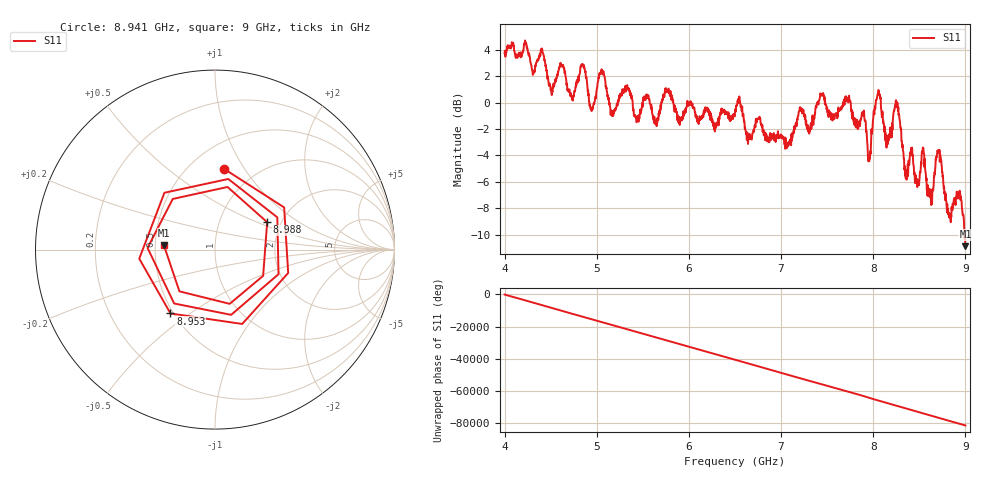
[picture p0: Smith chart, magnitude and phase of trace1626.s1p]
! Created with skrf 1.8.0 (http://scikit-rf.org).
# Hz S RI R 50.0
!freq ReS11 ImS11
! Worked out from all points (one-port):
!   1601 points, 4 GHz to 9 GHz, reference 50 ohm
!   lowest |S11| = -10.9 dB at 9 GHz (marker M1), VSWR 1.80, Z = 27.8 + j1.48 ohm
!   |S11| at or under -10 dB: 8.989563 GHz to end of sweep
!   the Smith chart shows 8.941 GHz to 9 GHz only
!   S11 on the Smith chart (normalised r, x): 8.941 GHz: 0.72, +0.82; 8.953 GHz: 0.48, -0.42; 8.988 GHz: 1.69, +0.58; 9 GHz: 0.56, +0.03
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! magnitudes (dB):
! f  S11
! 4 GHz  3.8
! 4.406 GHz  4.1
! 4.503 GHz  1.1
! 4.625 GHz  2.9
! 4.731 GHz  0.3
! 4.853 GHz  2.8
! 4.941 GHz  -0.4
! 5.05 GHz  2.3
! 5.162 GHz  -0.8
! 5.25 GHz  0.6
! 5.875 GHz  -1.1
! 6.5 GHz  -0.7
! 7.125 GHz  -2.4
! 7.441 GHz  0.6
! 7.75 GHz  0.2
! 7.953 GHz  -4.1
! 8.05 GHz  0.7
! 8.153 GHz  -2.9
! 8.256 GHz  0.0
! 8.375 GHz  -4.6
! 8.544 GHz  -3.4
! 8.619 GHz  -6.6
! 8.709 GHz  -3.8
! 8.822 GHz  -8.7
! 8.941 GHz  -6.9
! 8.953 GHz  -7.3
! 8.988 GHz  -9.7
! 9 GHz  -10.9
